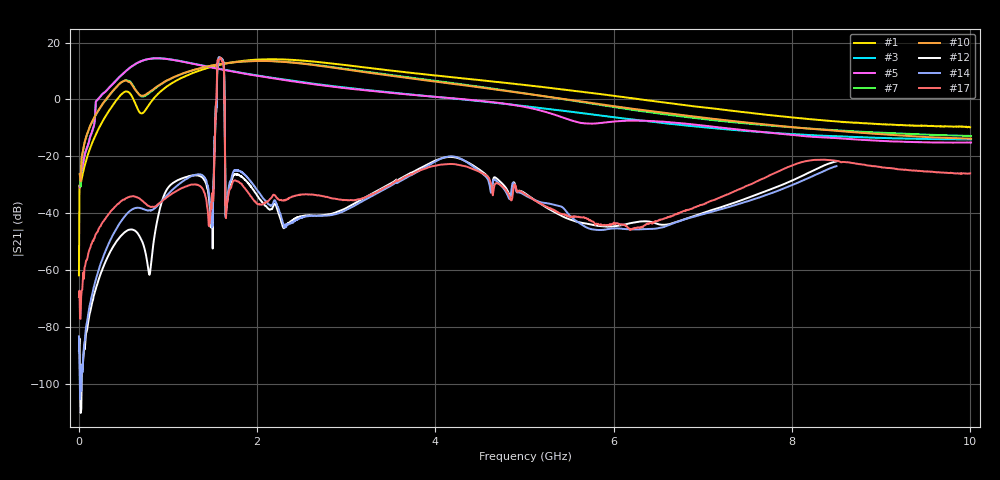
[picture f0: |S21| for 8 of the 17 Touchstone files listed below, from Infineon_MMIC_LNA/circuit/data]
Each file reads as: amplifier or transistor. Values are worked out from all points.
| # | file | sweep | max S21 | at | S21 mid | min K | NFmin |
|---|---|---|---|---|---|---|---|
| 1 | BGM15HA12_RX5_AO_2p8V.S2P | 300 kHz to 10 GHz | 14.1 dB | 2.169 GHz | 5.1 dB at 5 GHz | -18.78 | 1.00 dB |
| 2 | BGM15LA12_RX1_AO_2p8V.S2P | 10 MHz to 10.01 GHz | 14.4 dB | 890 MHz | -2.5 dB at 5.01 GHz | 1.22 | 0.90 dB |
| 3 | BGM15LA12_RX2_AO_2p8V.S2P | 10 MHz to 10.01 GHz | 14.5 dB | 870 MHz | -2.4 dB at 5.01 GHz | 1.20 | 0.90 dB |
| 4 | BGM15LA12_RX3_AO_2p8V.S2P | 10 MHz to 10.01 GHz | 14.5 dB | 870 MHz | -2.4 dB at 5.01 GHz | 1.21 | 0.96 dB |
| 5 | BGM15LA12_RX4_AO_2p8V.S2P | 10 MHz to 10.01 GHz | 14.4 dB | 870 MHz | -2.7 dB at 5.01 GHz | 1.21 | 0.93 dB |
| 6 | BGM15LA12_RX5_AO_2p8V.S2P | 10 MHz to 10.01 GHz | 14.5 dB | 870 MHz | -2.7 dB at 5.01 GHz | 1.21 | 0.94 dB |
| 7 | BGM15MA12_RX1_AO_2p8V.S2P | 10 MHz to 10.01 GHz | 13.6 dB | 2.09 GHz | 2.1 dB at 5.01 GHz | 1.33 | 1.00 dB |
| 8 | BGM15MA12_RX2_AO_2p8V.S2P | 10 MHz to 10.01 GHz | 13.5 dB | 2.04 GHz | 2.2 dB at 5.01 GHz | 1.31 | 0.99 dB |
| 9 | BGM15MA12_RX3_AO_2p8V.S2P | 10 MHz to 10.01 GHz | 13.4 dB | 2.02 GHz | 2.0 dB at 5.01 GHz | 1.32 | 0.98 dB |
| 10 | BGM15MA12_RX4_AO_2p8V.S2P | 10 MHz to 10.01 GHz | 13.5 dB | 2.04 GHz | 2.1 dB at 5.01 GHz | 1.31 | 0.99 dB |
| 11 | BGM15MA12_RX5_AO_2p8V.S2P | 10 MHz to 10.01 GHz | 13.7 dB | 2.03 GHz | 2.2 dB at 5.01 GHz | 1.31 | 1.01 dB |
| 12 | BGM1032N7_1p8V.S2P | 300 kHz to 8.5 GHz | 14.8 dB | 1.571 GHz | -33.4 dB at 3.267 GHz | -100300.90 | - |
| 13 | BGM1032N7_2p7V.S2P | 300 kHz to 8.5 GHz | 14.9 dB | 1.574 GHz | -33.4 dB at 3.267 GHz | -145754.23 | - |
| 14 | BGM1033N7_1p8V.S2P | 300 kHz to 8.5 GHz | 14.8 dB | 1.578 GHz | -34.3 dB at 3.267 GHz | -383163.74 | - |
| 15 | BGM1033N7_2p7V.S2P | 300 kHz to 8.5 GHz | 14.8 dB | 1.578 GHz | -34.2 dB at 3.267 GHz | -6682154.94 | - |
| 16 | BGM1034N7_2p7V.S2P | 300 kHz to 8.5 GHz | 16.9 dB | 1.593 GHz | -39.1 dB at 3.267 GHz | -227.68 | - |
| 17 | BGM1043N7_2p8V.S2P | 300 kHz to 10 GHz | 14.7 dB | 1.588 GHz | -33.2 dB at 5 GHz | 1.24 | 1.57 dB |

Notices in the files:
DesignKits/Infineon_MMIC_LNA/circuit/data/BGM1043N7_2p8V.S2P:
(c) 2013 Infineon Technologies AG
